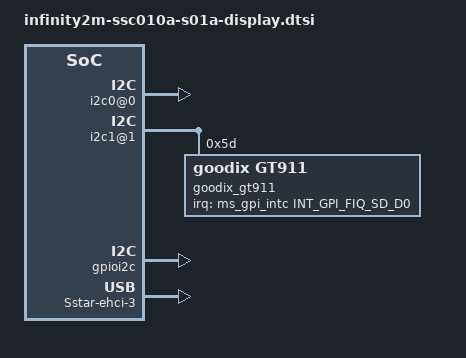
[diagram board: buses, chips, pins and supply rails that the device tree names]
/*
* infinity2m-ssc010a-s01a-display.dtsi- Sigmastar
*
* Copyright (c) [2019~2020] SigmaStar Technology.
*
*
* This software is licensed under the terms of the GNU General Public
* License version 2, as published by the Free Software Foundation, and
* may be copied, distributed, and modified under those terms.
*
* This program is distributed in the hope that it will be useful,
* but WITHOUT ANY WARRANTY; without even the implied warranty of
* MERCHANTABILITY or FITNESS FOR A PARTICULAR PURPOSE.  See the
* GNU General Public License version 2 for more details.
*
*/

/ {
    soc {
/*
        cpufreq {
            vid-num = /bits/ 8 <2>;
            vid-gpios = /bits/ 8 <PAD_UART1_RX PAD_SAR_GPIO1>;
        };
*/
       i2c0@0{
            compatible = "sstar,i2c";
            reg = <0x1F223000 0x200>,<0x1F203c00 0x200>,<0x1F207000 0x200>;
                #address-cells = <1>;
                #size-cells = <0>;
            clocks = <&CLK_miic0>;
            i2c-group = <0>;
            /*
             * padmux: 1 -> PAD_HDMITX_SCL, PAD_HDMITX_SDA
             *         2 -> PAD_TTL1, PAD_TTL2
             *         3 -> PAD_TTL14, PAD_TTL15
            */
            i2c-padmux = <1>;
            /*
              *  speed: 0 -> HWI2C_HIGH(high speed: 400 KHz)
              *         1 -> HWI2C_NORMAL(normal speed: 300 KHz)
              *         2 -> HWI2C_SLOW(slow speed: 200 KHz)
              *         3 -> HWI2C_VSLOW(very slow: 100 KHz)
              *         4 -> HWI2C_USLOW(ultra slow: 50 KHz)
              *         5 -> HWI2C_UVSLOW(ultra-very slow: 25 KHz)
              */
            i2c-speed = <3>;
            i2c-en-dma = <0>;  // 0: disable; 1: enable;
            status = "ok";
        };

        i2c1@1{
            compatible = "sstar,i2c";
            reg = <0x1F223200 0x200>,<0x1F203c00 0x200>,<0x1F207000 0x200>;
                #address-cells = <1>;
                #size-cells = <0>;
            clocks = <&CLK_miic1>;
            i2c-group = <1>;
            /*
             * padmux: 2 -> PAD_HDMITX_SCL, PAD_HDMITX_SDA
             *         3 -> PAD_FUART_CTS, PAD_FUART_RTS
             *         4 -> PAD_TTL22, PAD_TTL23
             *         5 -> PAD_SD_CLK, PAD_SD_CMD
            */
            i2c-padmux = <5>;
             /*
              *  speed: 0 -> HWI2C_HIGH(high speed: 400 KHz)
              *         1 -> HWI2C_NORMAL(normal speed: 300 KHz)
              *         2 -> HWI2C_SLOW(slow speed: 200 KHz)
              *         3 -> HWI2C_VSLOW(very slow: 100 KHz)
              *         4 -> HWI2C_USLOW(ultra slow: 50 KHz)
              *         5 -> HWI2C_UVSLOW(ultra-very slow: 25 KHz)
              */
            i2c-speed = <1>;
            i2c-en-dma = <0>;  // 0: disable; 1: enable; for hdmi: cannot be enabled
            status = "ok";
            goodix_gt911@5D{
                compatible = "goodix,gt911";
                reg = <0x5D>;
                goodix_rst = <PAD_SD_D2>;
                goodix_int = <PAD_SD_D0>;
                interrupts-extended = <&ms_gpi_intc INT_GPI_FIQ_SD_D0>;
                interrupt-names = "goodix_int";
            };
        };

        gpioi2c {
            compatible = "sstar,infinity-gpioi2c";
            sda-gpio = <PAD_FUART_CTS>;
            scl-gpio = <PAD_FUART_RTS>;
            status = "ok";
        };

        Sstar-ehci-3 {
            compatible = "Sstar-ehci-3";
            clocks = <&CLK_utmi>;
            interrupts = <GIC_SPI INT_IRQ_UHC_P3 IRQ_TYPE_LEVEL_HIGH>;
            dpdm_swap=<0>;
            //power-enable-pad = <PAD_FUART_TX>;
            status = "ok";
        };

        disp: disp {
            compatible = "sstar,disp";
            status = "ok";
            interrupts = <GIC_SPI INT_IRQ_DISP0 IRQ_TYPE_LEVEL_HIGH>, <GIC_SPI INT_IRQ_DISP_1 IRQ_TYPE_LEVEL_HIGH>, <GIC_SPI INT_IRQ_DISP_3 IRQ_TYPE_LEVEL_HIGH>;
            clocks = <&CLK_mop>, <&CLK_hdmi>, <&CLK_dac>, <&CLK_disp_432>, <&CLK_disp_216>;
            clock-names = "CLK_mop", "CLK_hdmi", "CLK_dac", "CLK_disp_432", "CLK_disp_216";
            //Reg = <0x1F224000 0x200>;
        };

        sound {
            compatible = "sstar,audio";
//            reg = <0x1F000000 0x1000000>;
            interrupts=<GIC_SPI INT_IRQ_BACH IRQ_TYPE_LEVEL_HIGH>;
            playback-volume-level=<64>;    //0~94
            capture-volume-level=<64>;
           // micin-pregain-level=<1>;    //0~3
            micin-pregain-level=<0>;    //0~3
            micin-gain-level=<3>;    //0~7
            linein-gain-level=<2>;  //0~7
            amp-gpio = <PAD_UART0_TX 1>;
            clocks = <&CLK_upll_384m>;
           // playback-dma-buffer=<98304>; //512(ms)*48(kHz)*2(ch)*2(16bits)
           // capture-dma-buffer=<122880>; //640(ms)*48(kHz)*2(ch)*2(16bits)
            digmic-padmux = <1>;
            i2s-padmux = <3>;
            keep-i2s-clk = <0>;
            status = "ok";
        };

    };

};
